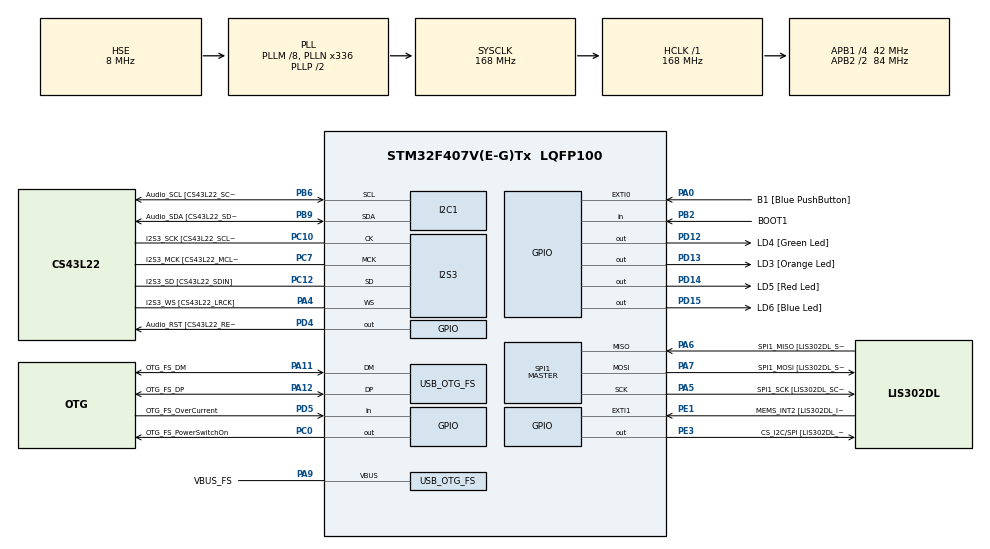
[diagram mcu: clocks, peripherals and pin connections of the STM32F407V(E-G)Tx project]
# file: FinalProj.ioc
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I2S3.AudioFreq-Half_Duplex_Master=I2S_AUDIOFREQ_96K
I2S3.ErrorAudioFreq=-2.34 %
I2S3.ErrorAudioFreq-Half_Duplex_Master=0.8 %
I2S3.FullDuplexMode=I2S_FULLDUPLEXMODE_DISABLE
I2S3.Instance=SPI$Index
I2S3.RealAudioFreq=93.75 KHz
I2S3.RealAudioFreq-Half_Duplex_Master=96.774 KHz
I2S3.VirtualMode=I2S_MODE_MASTER
Mcu.Family=STM32F4
Mcu.Name=STM32F407V(E-G)Tx
Mcu.Package=LQFP100
NVIC.OTG_FS_IRQn=true\:0\:0\:false\:false\:true\:true\:true\:true
NVIC.PriorityGroup=NVIC_PRIORITYGROUP_0
NVIC.TIM7_IRQn=true\:0\:0\:false\:false\:true\:true\:true\:true
PA0-WKUP.GPIO_Label=B1 [Blue PushButton]
PA0-WKUP.GPIO_ModeDefaultEXTI=GPIO_MODE_EVT_RISING
PA0-WKUP.GPIO_PuPd=GPIO_NOPULL
PA0-WKUP.Signal=GPXTI0
PA10.GPIO_Label=OTG_FS_ID
PA10.GPIO_Mode=GPIO_MODE_AF_PP
PA10.GPIO_PuPd=GPIO_NOPULL
PA10.GPIO_Speed=GPIO_SPEED_FREQ_LOW
PA10.Signal=USB_OTG_FS_ID
PA11.GPIO_Label=OTG_FS_DM
PA11.GPIO_Mode=GPIO_MODE_AF_PP
PA11.GPIO_PuPd=GPIO_NOPULL
PA11.GPIO_Speed=GPIO_SPEED_FREQ_LOW
PA11.Mode=Host_Only
PA11.Signal=USB_OTG_FS_DM
PA12.GPIO_Label=OTG_FS_DP
PA12.GPIO_Mode=GPIO_MODE_AF_PP
PA12.GPIO_PuPd=GPIO_NOPULL
PA12.GPIO_Speed=GPIO_SPEED_FREQ_LOW
PA12.Mode=Host_Only
PA12.Signal=USB_OTG_FS_DP
PA13.GPIO_Label=SWDIO
PA13.Mode=Serial_Wire
PA13.Signal=SYS_JTMS-SWDIO
PA14.GPIO_Label=SWCLK
PA14.Mode=Serial_Wire
PA14.Signal=SYS_JTCK-SWCLK
PA4.GPIO_Label=I2S3_WS [CS43L22_LRCK]
PA4.GPIO_Mode=GPIO_MODE_AF_PP
PA4.GPIO_PuPd=GPIO_NOPULL
PA4.GPIO_Speed=GPIO_SPEED_FREQ_LOW
PA4.Mode=Half_Duplex_Master
PA4.Signal=I2S3_WS
PA5.GPIO_Label=SPI1_SCK [LIS302DL_SCL/SPC]
PA5.GPIO_Mode=GPIO_MODE_AF_PP
PA5.GPIO_PuPd=GPIO_NOPULL
PA5.GPIO_Speed=GPIO_SPEED_FREQ_LOW
PA5.Mode=Full_Duplex_Master
PA5.Signal=SPI1_SCK
PA6.GPIO_Label=SPI1_MISO [LIS302DL_SDO]
PA6.GPIO_Mode=GPIO_MODE_AF_PP
PA6.GPIO_PuPd=GPIO_NOPULL
PA6.GPIO_Speed=GPIO_SPEED_FREQ_LOW
PA6.Mode=Full_Duplex_Master
PA6.Signal=SPI1_MISO
PA7.GPIO_Label=SPI1_MOSI [LIS302DL_SDA/SDI/SDO]
PA7.GPIO_Mode=GPIO_MODE_AF_PP
PA7.GPIO_PuPd=GPIO_NOPULL
PA7.GPIO_Speed=GPIO_SPEED_FREQ_LOW
PA7.Mode=Full_Duplex_Master
PA7.Signal=SPI1_MOSI
PA9.GPIO_Label=VBUS_FS
PA9.GPIO_Mode=GPIO_MODE_INPUT
PA9.GPIO_PuPd=GPIO_NOPULL
PA9.Mode=Activate_VBUS
PA9.Signal=USB_OTG_FS_VBUS
PB10.GPIO_Label=CLK_IN [MP45DT02_CLK]
PB10.GPIO_Mode=GPIO_MODE_AF_PP
PB10.GPIO_PuPd=GPIO_NOPULL
PB10.GPIO_Speed=GPIO_SPEED_FREQ_LOW
PB10.Signal=I2S2_CK
PB2.GPIO_Label=BOOT1
PB2.GPIO_Mode=GPIO_MODE_INPUT
PB2.GPIO_PuPd=GPIO_NOPULL
PB2.Signal=GPIO_Input
PB3.GPIO_Label=SWO
PB3.Signal=SYS_JTDO-SWO
PB6.GPIO_Label=Audio_SCL [CS43L22_SCL]
PB6.GPIO_Mode=GPIO_MODE_AF_OD
PB6.GPIO_Pu=GPIO_PULLUP
PB6.GPIO_PuPd=GPIO_NOPULL
PB6.GPIO_Speed=GPIO_SPEED_FREQ_LOW
PB6.Mode=I2C
PB6.Signal=I2C1_SCL
PB9.GPIO_Label=Audio_SDA [CS43L22_SDA]
PB9.GPIO_Mode=GPIO_MODE_AF_OD
PB9.GPIO_Pu=GPIO_PULLUP
PB9.GPIO_PuPd=GPIO_NOPULL
PB9.GPIO_Speed=GPIO_SPEED_FREQ_LOW
PB9.Mode=I2C
PB9.Signal=I2C1_SDA
PC0.GPIO_Label=OTG_FS_PowerSwitchOn
PC0.GPIO_PuPd=GPIO_NOPULL
PC0.GPIO_Speed=GPIO_SPEED_FREQ_LOW
PC0.PinState=GPIO_PIN_SET
PC0.Signal=GPIO_Output
PC10.GPIO_Label=I2S3_SCK [CS43L22_SCLK]
PC10.GPIO_Mode=GPIO_MODE_AF_PP
PC10.GPIO_PuPd=GPIO_NOPULL
PC10.GPIO_Speed=GPIO_SPEED_FREQ_LOW
PC10.Mode=Half_Duplex_Master
PC10.Signal=I2S3_CK
PC12.GPIO_Label=I2S3_SD [CS43L22_SDIN]
PC12.GPIO_Mode=GPIO_MODE_AF_PP
PC12.GPIO_PuPd=GPIO_NOPULL
PC12.GPIO_Speed=GPIO_SPEED_FREQ_LOW
PC12.Mode=Half_Duplex_Master
PC12.Signal=I2S3_SD
PC14-OSC32_IN.GPIO_Label=PC14-OSC32_IN
PC14-OSC32_IN.Mode=LSE-External-Oscillator
PC14-OSC32_IN.Signal=RCC_OSC32_IN
PC15-OSC32_OUT.GPIO_Label=PC15-OSC32_OUT
PC15-OSC32_OUT.Mode=LSE-External-Oscillator
PC15-OSC32_OUT.Signal=RCC_OSC32_OUT
PC3.GPIO_Label=PDM_OUT [MP45DT02_DOUT]
PC3.GPIO_Mode=GPIO_MODE_AF_PP
PC3.GPIO_PuPd=GPIO_NOPULL
PC3.GPIO_Speed=GPIO_SPEED_FREQ_LOW
PC3.Signal=I2S2_SD
PC7.GPIO_Label=I2S3_MCK [CS43L22_MCLK]
PC7.GPIO_Mode=GPIO_MODE_AF_PP
PC7.GPIO_PuPd=GPIO_NOPULL
PC7.GPIO_Speed=GPIO_SPEED_FREQ_LOW
PC7.Mode=Master_Clock_Activated
PC7.Signal=I2S3_MCK
PD12.GPIO_Label=LD4 [Green Led]
PD12.GPIO_PuPd=GPIO_NOPULL
PD12.GPIO_Speed=GPIO_SPEED_FREQ_LOW
PD12.Signal=GPIO_Output
PD13.GPIO_Label=LD3 [Orange Led]
PD13.GPIO_PuPd=GPIO_NOPULL
PD13.GPIO_Speed=GPIO_SPEED_FREQ_LOW
PD13.Signal=GPIO_Output
PD14.GPIO_Label=LD5 [Red Led]
PD14.GPIO_PuPd=GPIO_NOPULL
PD14.GPIO_Speed=GPIO_SPEED_FREQ_LOW
PD14.Signal=GPIO_Output
PD15.GPIO_Label=LD6 [Blue Led]
PD15.GPIO_PuPd=GPIO_NOPULL
PD15.GPIO_Speed=GPIO_SPEED_FREQ_LOW
PD15.Signal=GPIO_Output
PD4.GPIO_Label=Audio_RST [CS43L22_RESET]
PD4.GPIO_PuPd=GPIO_NOPULL
PD4.GPIO_Speed=GPIO_SPEED_FREQ_LOW
PD4.Signal=GPIO_Output
PD5.GPIO_Label=OTG_FS_OverCurrent
PD5.GPIO_Mode=GPIO_MODE_INPUT
PD5.GPIO_PuPd=GPIO_NOPULL
PD5.Signal=GPIO_Input
PE1.GPIO_Label=MEMS_INT2 [LIS302DL_INT2]
PE1.GPIO_ModeDefaultEXTI=GPIO_MODE_EVT_RISING
PE1.GPIO_PuPd=GPIO_NOPULL
PE1.Signal=GPXTI1
PE3.GPIO_Label=CS_I2C/SPI [LIS302DL_CS_I2C/SPI]
PE3.GPIO_PuPd=GPIO_NOPULL
PE3.GPIO_Speed=GPIO_SPEED_FREQ_LOW
PE3.Signal=GPIO_Output
PH0-OSC_IN.GPIO_Label=PH0-OSC_IN
PH0-OSC_IN.Mode=HSE-External-Oscillator
PH0-OSC_IN.Signal=RCC_OSC_IN
PH1-OSC_OUT.GPIO_Label=PH1-OSC_OUT
PH1-OSC_OUT.Mode=HSE-External-Oscillator
PH1-OSC_OUT.Signal=RCC_OSC_OUT
ProjectManager.HeapSize=0x200
ProjectManager.StackSize=0x400
ProjectManager.TargetToolchain=STM32CubeIDE
RCC.48MHZClocksFreq_Value=48000000
RCC.AHBFreq_Value=168000000
RCC.APB1CLKDivider=RCC_HCLK_DIV4
RCC.APB1Freq_Value=42000000
RCC.APB1TimFreq_Value=84000000
RCC.APB2CLKDivider=RCC_HCLK_DIV2
RCC.APB2Freq_Value=84000000
RCC.APB2TimFreq_Value=168000000
RCC.CortexFreq_Value=168000000
RCC.HCLKFreq_Value=168000000
RCC.HSE_VALUE=8000000
RCC.HSI_VALUE=16000000
RCC.PLLM=8
RCC.PLLN=336
RCC.PLLQ=7
RCC.SYSCLKFreq_VALUE=168000000
RCC.SYSCLKSource=RCC_SYSCLKSOURCE_PLLCLK
RCC.VCOOutputFreq_Value=336000000
SPI1.BaudRatePrescaler-Full_Duplex_Master=SPI_BAUDRATEPRESCALER_2
SPI1.CalculateBaudRate-Full_Duplex_Master=42.0 MBits/s
SPI1.Direction=SPI_DIRECTION_2LINES
SPI1.Mode=SPI_MODE_MASTER
SPI1.Mode-Full_Duplex_Master=SPI_MODE_MASTER
SPI1.VirtualType=VM_MASTER
USB_HOST.BSP.number=1
USB_HOST.USBH_HandleTypeDef-CDC_FS=hUsbHostFS
USB_HOST.VirtualModeFS=Cdc
USB_HOST0.BSP.STBoard=false
USB_HOST0.BSP.api=Unknown
USB_HOST0.BSP.instance=PC0
USB_HOST0.BSP.ip=GPIO
USB_HOST0.BSP.mode=Output
USB_HOST0.BSP.name=Drive_VBUS_FS
USB_HOST0.BSP.solution=PC0
USB_OTG_FS.VirtualMode=Host_Only
USB_OTG_FS.phy_itface=HCD_PHY_EMBEDDED
VP_TIM7_VS_ClockSourceINT.Mode=Enable_Timer
VP_USB_HOST_VS_USB_HOST_CDC_FS.Mode=CDC_FS
board=STM32F407G-DISC1

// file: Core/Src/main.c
/* USER CODE BEGIN Header */
/**
  ******************************************************************************
  * @file           : main.c
  * @brief          : Main program body
  ******************************************************************************
  * @attention
  *
  * Copyright (c) 2026 STMicroelectronics.
  * All rights reserved.
  *
  * This software is licensed under terms that can be found in the LICENSE file
  * in the root directory of this software component.
  * If no LICENSE file comes with this software, it is provided AS-IS.
  *
  ******************************************************************************
  */
/* USER CODE END Header */
#include "main.h"
#include "usb_host.h"

/* USER CODE BEGIN PTD */

// Setup for Arrays
typedef struct map_s {
    int horizontal[3][8];
    int vertical[2][16];
}

// Game state and Initialization
typedef enum { STATE_TITLE, STATE_P1_PLACE, STATE_P2_PLACE,
               STATE_P1_TURN, STATE_P2_TURN, STATE_GAME_OVER} GameState;
GameState game_state = STATE_TITLE;

  // Boat Maps
  // Player 1
  uint32_t p1_vertical_map = 0;
  uint32_t p1_horizontal_map = 0;
  // Player 2
  uint32_t p2_vertical_map = 0;
  uint32_t p2_horizontal_map = 0;

  // Shot Maps
  // Player 1
  uint32_t p1_vertical_shots = 0;
  uint32_t p1_Horizontal_shots = 0;
  // Player 2
  uint32_t p2_vertical_shots = 0;
  uint32_t p2_horizontal_shots = 0;

  // Cursor Position
  uint8_t = cursor_row = 0;
  uint8_t = cursor_col = 0;
  bool cursor_on_vertical = true;

  // Display Buffer
  uint8_t display_buffer[8];

  // Timing
  volatile uint32_t systick_ms = 0;
  volatile uint8_t pwm_counter = 0;

/* USER CODE END PTD */

I2C_HandleTypeDef hi2c1;

I2S_HandleTypeDef hi2s3;

SPI_HandleTypeDef hspi1;

TIM_HandleTypeDef htim7;

void SystemClock_Config(void);
static void MX_GPIO_Init(void);
static void MX_I2C1_Init(void);
static void MX_I2S3_Init(void);
static void MX_SPI1_Init(void);
static void MX_TIM7_Init(void);
void MX_USB_HOST_Process(void);

/* USER CODE BEGIN 0 */

// For the title scroll, assuming we have the same recourses as lab 11
char Title_Length = 0;
char *Title_Pointer;
char *Save_Pointer;

// BATTLESHIP
char Title[] = {CHAR_B, CHAR_A, CHAR_T, CHAR_T, CHAR_L, CHAR_E, CHAR_S, CHAR_H, CHAR_I, CHAR_P};

// Bit Maipulation Sets, May conflict w initial arrays but something to use just in case.
// Vertical 2x16
uint32_t get_vert_mask(uint8_t row, uint8_t col) {
  return (1U << (row * 16 + col));
}
// Horizontal 3x8
uint32_t get_horiz_mask(uint8_t row, uint_t col) {
  return (1U << (row * 8 + col));
}

// Cursor from Potentiometers
void update_cursor_pot(uint16_t adc_x, uint16_t adc_y) {
  if (cursor_on_vertical) {
    cursor_col = adc_x / 256; // 0-15
    cursor_row = adc_y / 2048; // 0-1
  } else {
    cursor_col = adc_x / 512; // 0-7
    cursor_row = adc_y / 1365; // 0-2
  }
}

// Boat Placement
bool place_boat(uint32_t *map, uint8_t row, uint8_t col, bool vertical, bool is_double) {
    uint32_t mask;

    if (vertical) {
        mask = get_vert_mask(row, col);

        if (is_double) {
            if (row == 1) return false; // out of bounds
            mask |= get_vert_mask(row + 1, col);
        }
    } else {
        mask = get_horiz_mask(row, col);

        if (is_double) {
            if (col == 7) return false;
            mask |= get_horiz_mask(row, col + 1);
        }
    }

    if ((*map & mask) != 0) return false; // overlap

    *map |= mask;
    return true;
}

// Shooting Stuff
bool take_shot(uint32_t opponent_map, uint32_t *shot_map, uint32_t mask) {
    *shot_map |= mask;

    if (opponent_map & mask) {
        return true; // HIT
    }
    return false; // MISS
}

// Win Check
uint8_t count_hits(uint32_t shots, uint32_t opponent_map) {
    uint32_t hits = shots & opponent_map;

    uint8_t count = 0;
    for (int i = 0; i < 32; i++) {
        if (hits & (1U << i)) count++;
    }
    return count;
}

/* USER CODE END 0 */

int main(void)
{

  /* USER CODE BEGIN 1 */

 // Initial setup for initializing arrays into 7 seg.
 draw_board(struct map_s M) {
    char board[8] = {0};

    // Horizontal (Unsure if it is supposed to flip thru array or just assign values)
    for i=0 upto 8 {
      // Top
      board[i] 1 = horizontal[3][i];
      // Mid
      board[i] 1 = {0,1,2,3,4,5,6,7};
      // Bot
      board[i] 1 = {0,1,2,3,4,5,6,7};
    }

    // Vertical
    for i=0 upto 8 {
      //Top Left
      board[i] 1 = ;
      //Bot Left
      //Top Right
      //Bot Right
    }
  }

  /* USER CODE END 1 */

  /* MCU Configuration--------------------------------------------------------*/

  /* Reset of all peripherals, Initializes the Flash interface and the Systick. */
  HAL_Init();

  /* Configure the system clock */
  SystemClock_Config();

  /* Initialize all configured peripherals */
  MX_GPIO_Init();
  MX_I2C1_Init();
  MX_I2S3_Init();
  MX_SPI1_Init();
  MX_USB_HOST_Init();
  MX_TIM7_Init();
  /* USER CODE BEGIN 2 */

  // Some GPIO config from lab 11
  GPIOD->MODER = 0x55555555; // set all Port D pins to outputs
  GPIOA->MODER |= 0x000000FF; // Port A mode register - make A0 to A3 analog pins
  GPIOE->MODER |= 0x55555555; // Port E mode register - make E0 to E15 outputs
  GPIOC->MODER |= 0x0; // Port C mode register - all inputs
  GPIOE->ODR = 0xFFFF; // Set all Port E pins high

  // Config ADC1 -- Just in case is needed for timer (from lab 11)
  RCC->APB2ENR |= 1<<8;  // Turn on ADC1 clock by forcing bit 8 to 1 while keeping other bits unchanged
  ADC1->SMPR2 |= 1; // 15 clock cycles per sample
  ADC1->CR2 |= 1;        // Turn on ADC1 by forcing bit 0 to 1 while keeping other bits unchanged

  // Turn on CRC clock
  RCC->AHB1ENR |= 1<<12; // bit 12 CRCEN on pg 180 for reference

  // Extra functions for the timer, assuming we use the same from lab 11 as implied.
  TIM7->PSC = 199; //250Khz timer clock prescaler value, 250Khz = 50Mhz / 200
  TIM7->ARR = 1; // Count to 1 then generate interrupt (divide by 2), 125Khz interrupt rate to increment byte counter for 78Hz PWM
  TIM7->DIER |= 1; // Enable timer 7 interrupt
  TIM7->CR1 |= 1; // Enable timer counting

  /* USER CODE END 2 */

  /* Infinite loop */
  /* USER CODE BEGIN WHILE */
  while (1)
  {

   // Implemented Title scroll, Right now is assumed it will only work at the beginning of the game on repeat.
   int i,j;

	  Title_Pointer = &Title[0];
	  Save_Pointer = &Title[0];
	  Title_Length = sizeof(Title)/sizeof(Title[0]);
	  Delay_msec = 200;
	  Animate_On = 1;

	  //********* Reset CRC value ********************
	  CRC->CR = 0x1;

	  //********* Calculate CRC **********************
	  for (int k = 0; k < Title_Length; k++) {
		  CRC->DR = Title[k];
	  }

	  //********* Read CRC value into CRC_Rx  ********
	  CRC_Rx = CRC->DR;

	  GPIOD->ODR = CRC_Rx ^ CRC_Tx;  //XOR the sent and received CRC values and display on LEDs

	  HAL_Delay(5000);           // Delay 5 seconds to allow message to scroll

	  Animate_On = 0;            // Stop scrolling message
	  Seven_Segment(CRC_Tx);     // Display CRC for sent message
	  HAL_Delay(1000);           // Delay 1 second
	  for (i=0 ; i<8 ; i++)      // Clear the display
	  	 {
	  		  Seven_Segment_Digit(i,SPACE,0);
  	  }

	  HAL_Delay(500);           // Delay 1/2 second
	  Seven_Segment(CRC_Rx);    // Display CRC calculated from received message
	  HAL_Delay(1000);          // Delay for 1 second

   // End title scroll bit

    /* USER CODE END WHILE */
    MX_USB_HOST_Process();

  }
}

void SystemClock_Config(void)
{
  RCC_OscInitTypeDef RCC_OscInitStruct = {0};
  RCC_ClkInitTypeDef RCC_ClkInitStruct = {0};

  /** Configure the main internal regulator output voltage
  */
  __HAL_RCC_PWR_CLK_ENABLE();
  __HAL_PWR_VOLTAGESCALING_CONFIG(PWR_REGULATOR_VOLTAGE_SCALE1);

  /** Initializes the RCC Oscillators according to the specified parameters
  * in the RCC_OscInitTypeDef structure.
  */
  RCC_OscInitStruct.OscillatorType = RCC_OSCILLATORTYPE_HSE;
  RCC_OscInitStruct.HSEState = RCC_HSE_ON;
  RCC_OscInitStruct.PLL.PLLState = RCC_PLL_ON;
  RCC_OscInitStruct.PLL.PLLSource = RCC_PLLSOURCE_HSE;
  RCC_OscInitStruct.PLL.PLLM = 8;
  RCC_OscInitStruct.PLL.PLLN = 336;
  RCC_OscInitStruct.PLL.PLLP = RCC_PLLP_DIV2;
  RCC_OscInitStruct.PLL.PLLQ = 7;
  if (HAL_RCC_OscConfig(&RCC_OscInitStruct) != HAL_OK)
  {
    Error_Handler();
  }

  /** Initializes the CPU, AHB and APB buses clocks
  */
  RCC_ClkInitStruct.ClockType = RCC_CLOCKTYPE_HCLK|RCC_CLOCKTYPE_SYSCLK
                              |RCC_CLOCKTYPE_PCLK1|RCC_CLOCKTYPE_PCLK2;
  RCC_ClkInitStruct.SYSCLKSource = RCC_SYSCLKSOURCE_PLLCLK;
  RCC_ClkInitStruct.AHBCLKDivider = RCC_SYSCLK_DIV1;
  RCC_ClkInitStruct.APB1CLKDivider = RCC_HCLK_DIV4;
  RCC_ClkInitStruct.APB2CLKDivider = RCC_HCLK_DIV2;

  if (HAL_RCC_ClockConfig(&RCC_ClkInitStruct, FLASH_LATENCY_5) != HAL_OK)
  {
    Error_Handler();
  }
}

static void MX_I2C1_Init(void)
{

  hi2c1.Instance = I2C1;
  hi2c1.Init.ClockSpeed = 100000;
  hi2c1.Init.DutyCycle = I2C_DUTYCYCLE_2;
  hi2c1.Init.OwnAddress1 = 0;
  hi2c1.Init.AddressingMode = I2C_ADDRESSINGMODE_7BIT;
  hi2c1.Init.DualAddressMode = I2C_DUALADDRESS_DISABLE;
  hi2c1.Init.OwnAddress2 = 0;
  hi2c1.Init.GeneralCallMode = I2C_GENERALCALL_DISABLE;
  hi2c1.Init.NoStretchMode = I2C_NOSTRETCH_DISABLE;
  if (HAL_I2C_Init(&hi2c1) != HAL_OK)
  {
    Error_Handler();
  }

}

static void MX_I2S3_Init(void)
{

  hi2s3.Instance = SPI3;
  hi2s3.Init.Mode = I2S_MODE_MASTER_TX;
  hi2s3.Init.Standard = I2S_STANDARD_PHILIPS;
  hi2s3.Init.DataFormat = I2S_DATAFORMAT_16B;
  hi2s3.Init.MCLKOutput = I2S_MCLKOUTPUT_ENABLE;
  hi2s3.Init.AudioFreq = I2S_AUDIOFREQ_96K;
  hi2s3.Init.CPOL = I2S_CPOL_LOW;
  hi2s3.Init.ClockSource = I2S_CLOCK_PLL;
  hi2s3.Init.FullDuplexMode = I2S_FULLDUPLEXMODE_DISABLE;
  if (HAL_I2S_Init(&hi2s3) != HAL_OK)
  {
    Error_Handler();
  }

}

static void MX_SPI1_Init(void)
{

  /* SPI1 parameter configuration*/
  hspi1.Instance = SPI1;
  hspi1.Init.Mode = SPI_MODE_MASTER;
  hspi1.Init.Direction = SPI_DIRECTION_2LINES;
  hspi1.Init.DataSize = SPI_DATASIZE_8BIT;
  hspi1.Init.CLKPolarity = SPI_POLARITY_LOW;
  hspi1.Init.CLKPhase = SPI_PHASE_1EDGE;
  hspi1.Init.NSS = SPI_NSS_SOFT;
  hspi1.Init.BaudRatePrescaler = SPI_BAUDRATEPRESCALER_2;
  hspi1.Init.FirstBit = SPI_FIRSTBIT_MSB;
  hspi1.Init.TIMode = SPI_TIMODE_DISABLE;
  hspi1.Init.CRCCalculation = SPI_CRCCALCULATION_DISABLE;
  hspi1.Init.CRCPolynomial = 10;
  if (HAL_SPI_Init(&hspi1) != HAL_OK)
  {
    Error_Handler();
  }

}

static void MX_TIM7_Init(void)
{

  TIM_MasterConfigTypeDef sMasterConfig = {0};

  htim7.Instance = TIM7;
  htim7.Init.Prescaler = 0;
  htim7.Init.CounterMode = TIM_COUNTERMODE_UP;
  htim7.Init.Period = 65535;
  htim7.Init.AutoReloadPreload = TIM_AUTORELOAD_PRELOAD_DISABLE;
  if (HAL_TIM_Base_Init(&htim7) != HAL_OK)
  {
    Error_Handler();
  }
  sMasterConfig.MasterOutputTrigger = TIM_TRGO_RESET;
  sMasterConfig.MasterSlaveMode = TIM_MASTERSLAVEMODE_DISABLE;
  if (HAL_TIMEx_MasterConfigSynchronization(&htim7, &sMasterConfig) != HAL_OK)
  {
    Error_Handler();
  }

}

static void MX_GPIO_Init(void)
{
  GPIO_InitTypeDef GPIO_InitStruct = {0};

  /* GPIO Ports Clock Enable */
  __HAL_RCC_GPIOE_CLK_ENABLE();
  __HAL_RCC_GPIOC_CLK_ENABLE();
  __HAL_RCC_GPIOH_CLK_ENABLE();
  __HAL_RCC_GPIOA_CLK_ENABLE();
  __HAL_RCC_GPIOB_CLK_ENABLE();
  __HAL_RCC_GPIOD_CLK_ENABLE();

  /*Configure GPIO pin Output Level */
  HAL_GPIO_WritePin(CS_I2C_SPI_GPIO_Port, CS_I2C_SPI_Pin, GPIO_PIN_RESET);

  /*Configure GPIO pin Output Level */
  HAL_GPIO_WritePin(OTG_FS_PowerSwitchOn_GPIO_Port, OTG_FS_PowerSwitchOn_Pin, GPIO_PIN_SET);

  /*Configure GPIO pin Output Level */
  HAL_GPIO_WritePin(GPIOD, LD4_Pin|LD3_Pin|LD5_Pin|LD6_Pin
                          |Audio_RST_Pin, GPIO_PIN_RESET);

  /*Configure GPIO pin : CS_I2C_SPI_Pin */
  GPIO_InitStruct.Pin = CS_I2C_SPI_Pin;
  GPIO_InitStruct.Mode = GPIO_MODE_OUTPUT_PP;
  GPIO_InitStruct.Pull = GPIO_NOPULL;
  GPIO_InitStruct.Speed = GPIO_SPEED_FREQ_LOW;
  HAL_GPIO_Init(CS_I2C_SPI_GPIO_Port, &GPIO_InitStruct);

  /*Configure GPIO pin : OTG_FS_PowerSwitchOn_Pin */
  GPIO_InitStruct.Pin = OTG_FS_PowerSwitchOn_Pin;
  GPIO_InitStruct.Mode = GPIO_MODE_OUTPUT_PP;
  GPIO_InitStruct.Pull = GPIO_NOPULL;
  GPIO_InitStruct.Speed = GPIO_SPEED_FREQ_LOW;
  HAL_GPIO_Init(OTG_FS_PowerSwitchOn_GPIO_Port, &GPIO_InitStruct);

  /*Configure GPIO pin : PDM_OUT_Pin */
  GPIO_InitStruct.Pin = PDM_OUT_Pin;
  GPIO_InitStruct.Mode = GPIO_MODE_AF_PP;
  GPIO_InitStruct.Pull = GPIO_NOPULL;
  GPIO_InitStruct.Speed = GPIO_SPEED_FREQ_LOW;
  GPIO_InitStruct.Alternate = GPIO_AF5_SPI2;
  HAL_GPIO_Init(PDM_OUT_GPIO_Port, &GPIO_InitStruct);

  /*Configure GPIO pin : B1_Pin */
  GPIO_InitStruct.Pin = B1_Pin;
  GPIO_InitStruct.Mode = GPIO_MODE_EVT_RISING;
  GPIO_InitStruct.Pull = GPIO_NOPULL;
  HAL_GPIO_Init(B1_GPIO_Port, &GPIO_InitStruct);

  /*Configure GPIO pin : BOOT1_Pin */
  GPIO_InitStruct.Pin = BOOT1_Pin;
  GPIO_InitStruct.Mode = GPIO_MODE_INPUT;
  GPIO_InitStruct.Pull = GPIO_NOPULL;
  HAL_GPIO_Init(BOOT1_GPIO_Port, &GPIO_InitStruct);

  /*Configure GPIO pin : CLK_IN_Pin */
  GPIO_InitStruct.Pin = CLK_IN_Pin;
  GPIO_InitStruct.Mode = GPIO_MODE_AF_PP;
  GPIO_InitStruct.Pull = GPIO_NOPULL;
  GPIO_InitStruct.Speed = GPIO_SPEED_FREQ_LOW;
  GPIO_InitStruct.Alternate = GPIO_AF5_SPI2;
  HAL_GPIO_Init(CLK_IN_GPIO_Port, &GPIO_InitStruct);

  /*Configure GPIO pins : LD4_Pin LD3_Pin LD5_Pin LD6_Pin
                           Audio_RST_Pin */
  GPIO_InitStruct.Pin = LD4_Pin|LD3_Pin|LD5_Pin|LD6_Pin
                          |Audio_RST_Pin;
  GPIO_InitStruct.Mode = GPIO_MODE_OUTPUT_PP;
  GPIO_InitStruct.Pull = GPIO_NOPULL;
  GPIO_InitStruct.Speed = GPIO_SPEED_FREQ_LOW;
  HAL_GPIO_Init(GPIOD, &GPIO_InitStruct);

  /*Configure GPIO pin : OTG_FS_OverCurrent_Pin */
  GPIO_InitStruct.Pin = OTG_FS_OverCurrent_Pin;
  GPIO_InitStruct.Mode = GPIO_MODE_INPUT;
  GPIO_InitStruct.Pull = GPIO_NOPULL;
  HAL_GPIO_Init(OTG_FS_OverCurrent_GPIO_Port, &GPIO_InitStruct);

  /*Configure GPIO pin : MEMS_INT2_Pin */
  GPIO_InitStruct.Pin = MEMS_INT2_Pin;
  GPIO_InitStruct.Mode = GPIO_MODE_EVT_RISING;
  GPIO_InitStruct.Pull = GPIO_NOPULL;
  HAL_GPIO_Init(MEMS_INT2_GPIO_Port, &GPIO_InitStruct);

}

void Error_Handler(void)
{
  __disable_irq();
  while (1)
  {
  }
}
